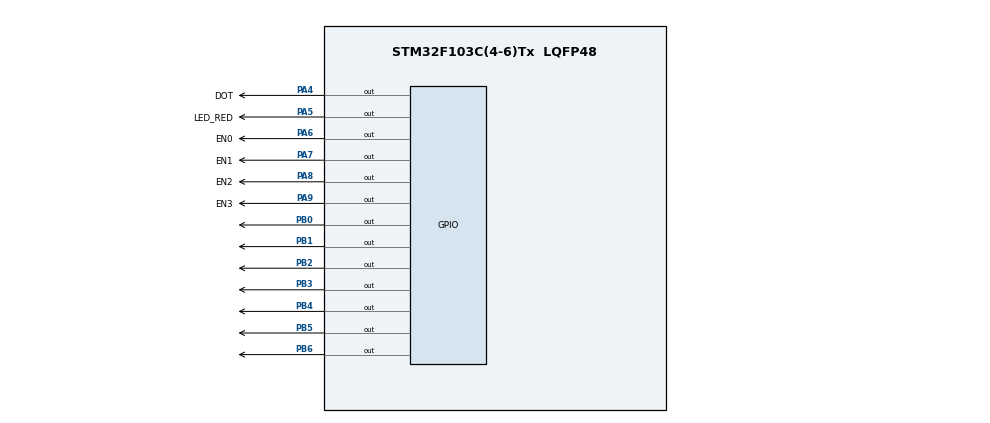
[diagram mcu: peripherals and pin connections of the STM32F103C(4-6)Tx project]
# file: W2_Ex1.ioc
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Mcu.Family=STM32F1
Mcu.Name=STM32F103C(4-6)Tx
Mcu.Package=LQFP48
NVIC.PriorityGroup=NVIC_PRIORITYGROUP_4
NVIC.TIM2_IRQn=true\:0\:0\:false\:false\:true\:true\:true
PA4.GPIO_Label=DOT
PA4.Signal=GPIO_Output
PA5.GPIO_Label=LED_RED
PA5.Signal=GPIO_Output
PA6.GPIO_Label=EN0
PA6.Signal=GPIO_Output
PA7.GPIO_Label=EN1
PA7.Signal=GPIO_Output
PA8.GPIO_Label=EN2
PA8.Signal=GPIO_Output
PA9.GPIO_Label=EN3
PA9.Signal=GPIO_Output
PB0.Signal=GPIO_Output
PB1.Signal=GPIO_Output
PB2.Signal=GPIO_Output
PB3.Signal=GPIO_Output
PB4.Signal=GPIO_Output
PB5.Signal=GPIO_Output
PB6.Signal=GPIO_Output
PD0-OSC_IN.Mode=HSE-External-Oscillator
PD0-OSC_IN.Signal=RCC_OSC_IN
PD1-OSC_OUT.Mode=HSE-External-Oscillator
PD1-OSC_OUT.Signal=RCC_OSC_OUT
ProjectManager.HeapSize=0x200
ProjectManager.StackSize=0x400
ProjectManager.TargetToolchain=STM32CubeIDE
RCC.APB1Freq_Value=8000000
RCC.APB2Freq_Value=8000000
TIM2.Period=9
TIM2.Prescaler=7999
VP_SYS_VS_ND.Mode=No_Debug
VP_TIM2_VS_ClockSourceINT.Mode=Internal
board=custom

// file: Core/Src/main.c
/* USER CODE BEGIN Header */
/**
  ******************************************************************************
  * @file           : main.c
  * @brief          : Main program body
  ******************************************************************************
  * @attention
  *
  * <h2><center>&copy; Copyright (c) 2021 STMicroelectronics.
  * All rights reserved.</center></h2>
  *
  * This software component is licensed by ST under BSD 3-Clause license,
  * the "License"; You may not use this file except in compliance with the
  * License. You may obtain a copy of the License at:
  *                        opensource.org/licenses/BSD-3-Clause
  *
  ******************************************************************************
  */
/* USER CODE END Header */
#include "main.h"

/* USER CODE BEGIN Includes */
int NUM[10][7]={
		{0,0,0,0,0,0,1},
		{1,0,0,1,1,1,1},
		{0,0,1,0,0,1,0},
		{0,0,0,0,1,1,0},
		{1,0,0,1,1,0,0},
		{0,1,0,0,1,0,0},
		{0,1,0,0,0,0,0},
		{0,0,0,1,1,1,1},
		{0,0,0,0,0,0,0},
		{0,0,0,0,1,0,0},
};

void display7SEG(int num)
{
	HAL_GPIO_WritePin(GPIOB, GPIO_PIN_0, NUM[num][0]);
	HAL_GPIO_WritePin(GPIOB, GPIO_PIN_1, NUM[num][1]);
	HAL_GPIO_WritePin(GPIOB, GPIO_PIN_2, NUM[num][2]);
	HAL_GPIO_WritePin(GPIOB, GPIO_PIN_3, NUM[num][3]);
	HAL_GPIO_WritePin(GPIOB, GPIO_PIN_4, NUM[num][4]);
	HAL_GPIO_WritePin(GPIOB, GPIO_PIN_5, NUM[num][5]);
	HAL_GPIO_WritePin(GPIOB, GPIO_PIN_6, NUM[num][6]);
}

#define START 0
#define ONE 1
#define TWO 2

// Khơi tạo trạng thái đầu tiên
int status = START;

void FSM(){
	switch (status) {
		case START:
			// tắt tất cả đèn
			// 2 đèn 7SEG
			HAL_GPIO_WritePin(EN0_GPIO_Port, EN0_Pin, 1);
			HAL_GPIO_WritePin(EN1_GPIO_Port, EN1_Pin, 1);

			// đèn LED_RED
			HAL_GPIO_WritePin(LED_RED_GPIO_Port, LED_RED_Pin, 1);

			status = ONE;
			break;

		case ONE:
			// sáng đèn thứ nhất LED = 1, tắt các đèn còn lại
			HAL_GPIO_WritePin(EN1_GPIO_Port, EN1_Pin, 1);

			// hiển thị số 1 ở đèn thứ nhất
			display7SEG(1);
			HAL_GPIO_WritePin(EN0_GPIO_Port, EN0_Pin, 0);

			status = TWO;
			break;

		case TWO:
			// sáng đèn thứ hai LED = 2, tắt các đèn còn lại
			HAL_GPIO_WritePin(EN0_GPIO_Port, EN0_Pin, 1);

			// sau 1 giây thì nhảy đèn LED_RED
			HAL_GPIO_TogglePin(LED_RED_GPIO_Port, LED_RED_Pin);

			// hiển thị số 2 ở đèn thứ hai
			display7SEG(2);
			HAL_GPIO_WritePin(EN1_GPIO_Port, EN1_Pin, 0);

			status = ONE;
			break;
	}
}
/* USER CODE END Includes */

TIM_HandleTypeDef htim2;

void SystemClock_Config(void);
static void MX_GPIO_Init(void);
static void MX_TIM2_Init(void);

int main(void)
{

  /* MCU Configuration--------------------------------------------------------*/

  /* Reset of all peripherals, Initializes the Flash interface and the Systick. */
  HAL_Init();

  /* Configure the system clock */
  SystemClock_Config();

  /* Initialize all configured peripherals */
  MX_GPIO_Init();
  MX_TIM2_Init();
  /* USER CODE BEGIN 2 */
  HAL_TIM_Base_Start_IT (&htim2 );
  /* USER CODE END 2 */

  /* Infinite loop */
  while (1)
  {

  }
}

void SystemClock_Config(void)
{
  RCC_OscInitTypeDef RCC_OscInitStruct = {0};
  RCC_ClkInitTypeDef RCC_ClkInitStruct = {0};

  /** Initializes the RCC Oscillators according to the specified parameters
  * in the RCC_OscInitTypeDef structure.
  */
  RCC_OscInitStruct.OscillatorType = RCC_OSCILLATORTYPE_HSI;
  RCC_OscInitStruct.HSIState = RCC_HSI_ON;
  RCC_OscInitStruct.HSICalibrationValue = RCC_HSICALIBRATION_DEFAULT;
  RCC_OscInitStruct.PLL.PLLState = RCC_PLL_NONE;
  if (HAL_RCC_OscConfig(&RCC_OscInitStruct) != HAL_OK)
  {
    Error_Handler();
  }
  /** Initializes the CPU, AHB and APB buses clocks
  */
  RCC_ClkInitStruct.ClockType = RCC_CLOCKTYPE_HCLK|RCC_CLOCKTYPE_SYSCLK
                              |RCC_CLOCKTYPE_PCLK1|RCC_CLOCKTYPE_PCLK2;
  RCC_ClkInitStruct.SYSCLKSource = RCC_SYSCLKSOURCE_HSI;
  RCC_ClkInitStruct.AHBCLKDivider = RCC_SYSCLK_DIV1;
  RCC_ClkInitStruct.APB1CLKDivider = RCC_HCLK_DIV1;
  RCC_ClkInitStruct.APB2CLKDivider = RCC_HCLK_DIV1;

  if (HAL_RCC_ClockConfig(&RCC_ClkInitStruct, FLASH_LATENCY_0) != HAL_OK)
  {
    Error_Handler();
  }
}

static void MX_TIM2_Init(void)
{

  TIM_ClockConfigTypeDef sClockSourceConfig = {0};
  TIM_MasterConfigTypeDef sMasterConfig = {0};

  htim2.Instance = TIM2;
  htim2.Init.Prescaler = 7999;
  htim2.Init.CounterMode = TIM_COUNTERMODE_UP;
  htim2.Init.Period = 9;
  htim2.Init.ClockDivision = TIM_CLOCKDIVISION_DIV1;
  htim2.Init.AutoReloadPreload = TIM_AUTORELOAD_PRELOAD_DISABLE;
  if (HAL_TIM_Base_Init(&htim2) != HAL_OK)
  {
    Error_Handler();
  }
  sClockSourceConfig.ClockSource = TIM_CLOCKSOURCE_INTERNAL;
  if (HAL_TIM_ConfigClockSource(&htim2, &sClockSourceConfig) != HAL_OK)
  {
    Error_Handler();
  }
  sMasterConfig.MasterOutputTrigger = TIM_TRGO_RESET;
  sMasterConfig.MasterSlaveMode = TIM_MASTERSLAVEMODE_DISABLE;
  if (HAL_TIMEx_MasterConfigSynchronization(&htim2, &sMasterConfig) != HAL_OK)
  {
    Error_Handler();
  }

}

static void MX_GPIO_Init(void)
{
  GPIO_InitTypeDef GPIO_InitStruct = {0};

  /* GPIO Ports Clock Enable */
  __HAL_RCC_GPIOD_CLK_ENABLE();
  __HAL_RCC_GPIOA_CLK_ENABLE();
  __HAL_RCC_GPIOB_CLK_ENABLE();

  /*Configure GPIO pin Output Level */
  HAL_GPIO_WritePin(GPIOA, DOT_Pin|LED_RED_Pin|EN0_Pin|EN1_Pin
                          |EN2_Pin|EN3_Pin, GPIO_PIN_RESET);

  /*Configure GPIO pin Output Level */
  HAL_GPIO_WritePin(GPIOB, GPIO_PIN_0|GPIO_PIN_1|GPIO_PIN_2|GPIO_PIN_3
                          |GPIO_PIN_4|GPIO_PIN_5|GPIO_PIN_6, GPIO_PIN_RESET);

  /*Configure GPIO pins : DOT_Pin LED_RED_Pin EN0_Pin EN1_Pin
                           EN2_Pin EN3_Pin */
  GPIO_InitStruct.Pin = DOT_Pin|LED_RED_Pin|EN0_Pin|EN1_Pin
                          |EN2_Pin|EN3_Pin;
  GPIO_InitStruct.Mode = GPIO_MODE_OUTPUT_PP;
  GPIO_InitStruct.Pull = GPIO_NOPULL;
  GPIO_InitStruct.Speed = GPIO_SPEED_FREQ_LOW;
  HAL_GPIO_Init(GPIOA, &GPIO_InitStruct);

  /*Configure GPIO pins : PB0 PB1 PB2 PB3
                           PB4 PB5 PB6 */
  GPIO_InitStruct.Pin = GPIO_PIN_0|GPIO_PIN_1|GPIO_PIN_2|GPIO_PIN_3
                          |GPIO_PIN_4|GPIO_PIN_5|GPIO_PIN_6;
  GPIO_InitStruct.Mode = GPIO_MODE_OUTPUT_PP;
  GPIO_InitStruct.Pull = GPIO_NOPULL;
  GPIO_InitStruct.Speed = GPIO_SPEED_FREQ_LOW;
  HAL_GPIO_Init(GPIOB, &GPIO_InitStruct);

}

/* USER CODE BEGIN 4 */
// f (input) = 100 Hz, T = 10 ms
// f (output) = 2 Hz, T = 0.5s
// Therefore, counter = 200 (T = 10ms*50 = 0.5s)

int counter = 50;

void HAL_TIM_PeriodElapsedCallback ( TIM_HandleTypeDef * htim ){
	counter--;

	if (counter <= 0){
		counter = 50;

		FSM();
	}
}
/* USER CODE END 4 */

void Error_Handler(void)
{
  __disable_irq();
  while (1)
  {
  }
}

/************************ (C) COPYRIGHT STMicroelectronics *****END OF FILE****/
